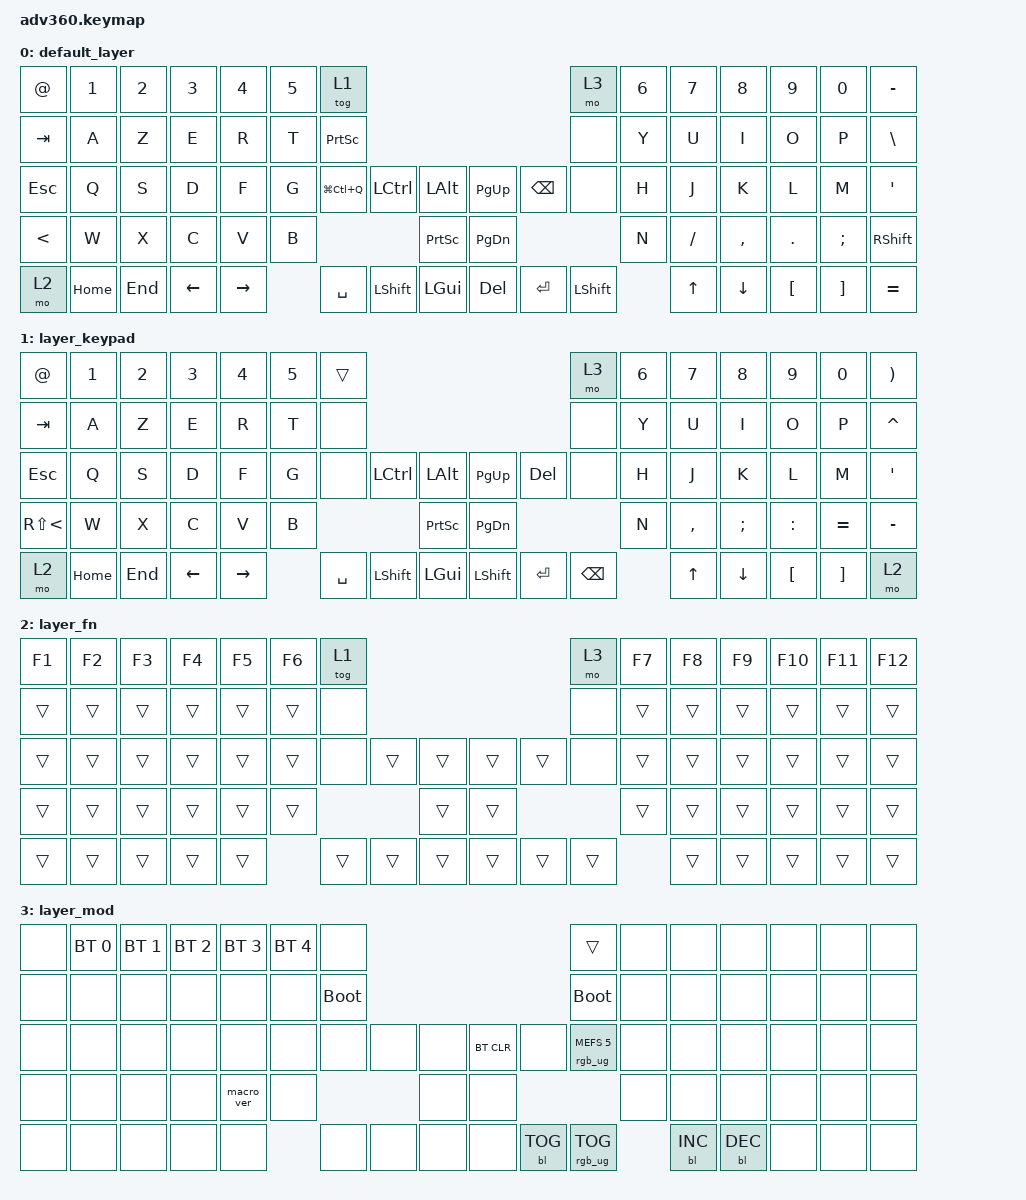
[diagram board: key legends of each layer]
/*
 * Copyright (c) 2020 The ZMK Contributors
 *
 * SPDX-License-Identifier: MIT
 */
/* THIS FILE WAS GENERATED!
 *
 * This file was generated automatically. You may or may not want to
 * edit it directly.
 */

#include <behaviors.dtsi>
#include <dt-bindings/zmk/backlight.h>
#include <dt-bindings/zmk/bt.h>
#include <dt-bindings/zmk/keys.h>
#include <dt-bindings/zmk/rgb.h>

/ {
    behaviors {
        #include "macros.dtsi"
    #include "version.dtsi"

        hm: homerow_mods {
            compatible = "zmk,behavior-hold-tap";
            label = "HOMEROW_MODS";
            #binding-cells = <2>;
            tapping-term-ms = <200>;
            quick_tap_ms = <175>;
            flavor = "tap-preferred";
            bindings = <&kp>, <&kp>;
        };
    };

    keymap {
        compatible = "zmk,keymap";

        default_layer {
            bindings = <
&kp AT_SIGN    &kp N1    &kp N2   &kp N3    &kp N4     &kp N5  &tog 1                                                                       &mo 3           &kp N6  &kp N7     &kp N8     &kp N9    &kp N0    &kp MINUS
&kp TAB        &kp A     &kp Z    &kp E     &kp R      &kp T   &kp PSCRN                                                                    &none           &kp Y   &kp U      &kp I      &kp O     &kp P     &kp BSLH
&kp ESC        &kp Q     &kp S    &kp D     &kp F      &kp G   &kp LG(LC(Q))  &kp LCTRL       &kp LALT          &kp PAGE_UP  &kp BACKSPACE  &none           &kp H   &kp J      &kp K      &kp L     &kp M     &kp SQT
&kp LESS_THAN  &kp W     &kp X    &kp C     &kp V      &kp B                                  &kp PSCRN         &kp PG_DN                                   &kp N   &kp SLASH  &kp COMMA  &kp DOT   &kp SEMI  &kp RSHFT
&mo 2          &kp HOME  &kp END  &kp LEFT  &kp RIGHT          &kp SPACE      &kp LEFT_SHIFT  &kp LEFT_GUI      &kp DELETE   &kp ENTER      &kp LEFT_SHIFT          &kp UP     &kp DOWN   &kp LBKT  &kp RBKT  &kp EQUAL
            >;
        };

        layer_keypad {
            bindings = <
&kp AT             &kp N1    &kp N2   &kp N3    &kp N4     &kp N5  &trans                                                                &mo 3          &kp N6  &kp NUMBER_7  &kp N8         &kp N9     &kp N0     &kp RIGHT_PARENTHESIS
&kp TAB            &kp A     &kp Z    &kp E     &kp R      &kp T   &none                                                                 &none          &kp Y   &kp U         &kp I          &kp O      &kp P      &kp CARET
&kp ESC            &kp Q     &kp S    &kp D     &kp F      &kp G   &none      &kp LCTRL       &kp LALT       &kp PG_UP       &kp DELETE  &none          &kp H   &kp J         &kp K          &kp L      &kp M      &kp SQT
&kp RS(LESS_THAN)  &kp W     &kp X    &kp C     &kp V      &kp B                              &kp PSCRN      &kp PG_DN                                  &kp N   &kp COMMA     &kp SEMICOLON  &kp COLON  &kp EQUAL  &kp MINUS
&mo 2              &kp HOME  &kp END  &kp LEFT  &kp RIGHT          &kp SPACE  &kp LEFT_SHIFT  &kp LGUI       &kp LEFT_SHIFT  &kp ENTER   &kp BACKSPACE          &kp UP        &kp DOWN       &kp LBKT   &kp RBKT   &mo 2
            >;
        };

        layer_fn {
            bindings = <
&kp F1  &kp F2  &kp F3  &kp F4  &kp F5  &kp F6  &tog 1                                      &mo 3   &kp F7  &kp F8  &kp F9  &kp F10  &kp F11  &kp F12
&trans  &trans  &trans  &trans  &trans  &trans  &none                                       &none   &trans  &trans  &trans  &trans   &trans   &trans
&trans  &trans  &trans  &trans  &trans  &trans  &none   &trans  &trans      &trans  &trans  &none   &trans  &trans  &trans  &trans   &trans   &trans
&trans  &trans  &trans  &trans  &trans  &trans                  &trans      &trans                  &trans  &trans  &trans  &trans   &trans   &trans
&trans  &trans  &trans  &trans  &trans          &trans  &trans  &trans      &trans  &trans  &trans          &trans  &trans  &trans   &trans   &trans
            >;
        };

        layer_mod {
            bindings = <
&none  &bt BT_SEL 0  &bt BT_SEL 1  &bt BT_SEL 2  &bt BT_SEL 3  &bt BT_SEL 4  &none                                                  &trans                  &none  &none       &none       &none  &none  &none
&none  &none         &none         &none         &none         &none         &bootloader                                            &bootloader             &none  &none       &none       &none  &none  &none
&none  &none         &none         &none         &none         &none         &none        &none  &none      &bt BT_CLR  &none       &rgb_ug RGB_MEFS_CMD 5  &none  &none       &none       &none  &none  &none
&none  &none         &none         &none         &macro_ver    &none                             &none      &none                                           &none  &none       &none       &none  &none  &none
&none  &none         &none         &none         &none                       &none        &none  &none      &none       &bl BL_TOG  &rgb_ug RGB_TOG                &bl BL_INC  &bl BL_DEC  &none  &none  &none
            >;
        };
    };
};
